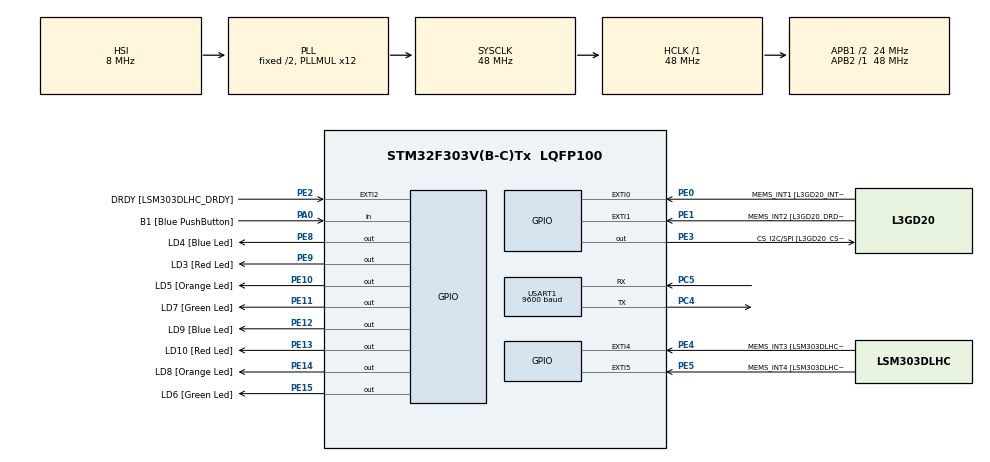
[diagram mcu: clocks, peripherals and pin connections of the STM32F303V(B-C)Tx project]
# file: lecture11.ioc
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FREERTOS.Queues01=sender,13,uint8_t,0,Dynamic,NULL,NULL
FREERTOS.Tasks01=defaultTask,24,128,StartDefaultTask,Default,NULL,Dynamic,NULL,NULL;TaskButton,24,128,getButton,Default,NULL,Dynamic,NULL,NULL;TaskTransmit,24,128,dataTransmit,Default,NULL,Dynamic,NULL,NULL;TaskQueueTransm,24,128,dataQueueTransm,Default,NULL,Dynamic,NULL,NULL
Mcu.Family=STM32F3
Mcu.Name=STM32F303V(B-C)Tx
Mcu.Package=LQFP100
NVIC.PriorityGroup=NVIC_PRIORITYGROUP_4
NVIC.TIM2_IRQn=true\:0\:0\:false\:false\:true\:false\:false\:true
NVIC.TimeBase=TIM2_IRQn
NVIC.TimeBaseIP=TIM2
PA0.GPIO_Label=B1 [Blue PushButton]
PA0.GPIO_Mode=GPIO_MODE_INPUT
PA0.GPIO_PuPd=GPIO_NOPULL
PA0.Signal=GPIO_Input
PA11.GPIO_Label=DM
PA11.Signal=USB_DM
PA12.GPIO_Label=DP
PA12.Signal=USB_DP
PA13.GPIO_Label=SWDIO
PA13.Signal=SYS_JTMS-SWDIO
PA14.GPIO_Label=SWCLK
PA14.Signal=SYS_JTCK-SWCLK
PA5.GPIO_Label=SPI1_SCK [L3GD20_SCL/SPC]
PA5.GPIO_Mode=GPIO_MODE_AF_PP
PA5.GPIO_PuPd=GPIO_NOPULL
PA5.GPIO_Speed=GPIO_SPEED_FREQ_LOW
PA5.Signal=SPI1_SCK
PA6.GPIO_Label=SPI1_MISO [L3GD20_SA0/SDO]
PA6.GPIO_Mode=GPIO_MODE_AF_PP
PA6.GPIO_PuPd=GPIO_NOPULL
PA6.GPIO_Speed=GPIO_SPEED_FREQ_LOW
PA6.Signal=SPI1_MISO
PA7.GPIO_Label=SPI1_MISO [L3GD20_SDA/SDI/SDO]
PA7.GPIO_Mode=GPIO_MODE_AF_PP
PA7.GPIO_PuPd=GPIO_NOPULL
PA7.GPIO_Speed=GPIO_SPEED_FREQ_LOW
PA7.Signal=SPI1_MOSI
PB3.GPIO_Label=SWO
PB3.Signal=SYS_JTDO-TRACESWO
PB6.GPIO_FM6=__NULL
PB6.GPIO_Label=I2C1_SCL [LSM303DLHC_SCL]
PB6.GPIO_Mode=GPIO_MODE_AF_OD
PB6.GPIO_PuPd=GPIO_NOPULL
PB6.GPIO_Speed=GPIO_SPEED_FREQ_LOW
PB6.Signal=I2C1_SCL
PB7.GPIO_FM7=__NULL
PB7.GPIO_Label=I2C1_SDA [LSM303DLHC_SDA]
PB7.GPIO_Mode=GPIO_MODE_AF_OD
PB7.GPIO_PuPd=GPIO_NOPULL
PB7.GPIO_Speed=GPIO_SPEED_FREQ_LOW
PB7.Signal=I2C1_SDA
PC14-OSC32_IN.GPIO_Label=OSC32_IN
PC14-OSC32_IN.Signal=RCC_OSC32_IN
PC15-OSC32_OUT.GPIO_Label=OSC32_OUT
PC15-OSC32_OUT.Signal=RCC_OSC32_OUT
PC4.Mode=Asynchronous
PC4.Signal=USART1_TX
PC5.Mode=Asynchronous
PC5.Signal=USART1_RX
PE0.GPIO_Label=MEMS_INT1 [L3GD20_INT1]
PE0.GPIO_ModeDefaultEXTI=GPIO_MODE_EVT_RISING
PE0.GPIO_PuPd=GPIO_NOPULL
PE0.Signal=GPXTI0
PE1.GPIO_Label=MEMS_INT2 [L3GD20_DRDY/INT2]
PE1.GPIO_ModeDefaultEXTI=GPIO_MODE_EVT_RISING
PE1.GPIO_PuPd=GPIO_NOPULL
PE1.Signal=GPXTI1
PE10.GPIO_Label=LD5 [Orange Led]
PE10.GPIO_ModeDefaultOutputPP=GPIO_MODE_OUTPUT_PP
PE10.GPIO_PuPd=GPIO_NOPULL
PE10.GPIO_Speed=GPIO_SPEED_FREQ_LOW
PE10.Signal=GPIO_Output
PE11.GPIO_Label=LD7 [Green Led]
PE11.GPIO_ModeDefaultOutputPP=GPIO_MODE_OUTPUT_PP
PE11.GPIO_PuPd=GPIO_NOPULL
PE11.GPIO_Speed=GPIO_SPEED_FREQ_LOW
PE11.Signal=GPIO_Output
PE12.GPIO_Label=LD9 [Blue Led]
PE12.GPIO_ModeDefaultOutputPP=GPIO_MODE_OUTPUT_PP
PE12.GPIO_PuPd=GPIO_NOPULL
PE12.GPIO_Speed=GPIO_SPEED_FREQ_LOW
PE12.Signal=GPIO_Output
PE13.GPIO_Label=LD10 [Red Led]
PE13.GPIO_ModeDefaultOutputPP=GPIO_MODE_OUTPUT_PP
PE13.GPIO_PuPd=GPIO_NOPULL
PE13.GPIO_Speed=GPIO_SPEED_FREQ_LOW
PE13.Signal=GPIO_Output
PE14.GPIO_Label=LD8 [Orange Led]
PE14.GPIO_ModeDefaultOutputPP=GPIO_MODE_OUTPUT_PP
PE14.GPIO_PuPd=GPIO_NOPULL
PE14.GPIO_Speed=GPIO_SPEED_FREQ_LOW
PE14.Signal=GPIO_Output
PE15.GPIO_Label=LD6 [Green Led]
PE15.GPIO_ModeDefaultOutputPP=GPIO_MODE_OUTPUT_PP
PE15.GPIO_PuPd=GPIO_NOPULL
PE15.GPIO_Speed=GPIO_SPEED_FREQ_LOW
PE15.Signal=GPIO_Output
PE2.GPIO_Label=DRDY [LSM303DLHC_DRDY]
PE2.GPIO_ModeDefaultEXTI=GPIO_MODE_EVT_RISING
PE2.GPIO_PuPd=GPIO_NOPULL
PE2.Signal=GPXTI2
PE3.GPIO_Label=CS_I2C/SPI [L3GD20_CS_I2C/SPI]
PE3.GPIO_ModeDefaultOutputPP=GPIO_MODE_OUTPUT_PP
PE3.GPIO_PuPd=GPIO_NOPULL
PE3.GPIO_Speed=GPIO_SPEED_FREQ_LOW
PE3.Signal=GPIO_Output
PE4.GPIO_Label=MEMS_INT3 [LSM303DLHC_INT1]
PE4.GPIO_ModeDefaultEXTI=GPIO_MODE_EVT_RISING
PE4.GPIO_PuPd=GPIO_NOPULL
PE4.Signal=GPXTI4
PE5.GPIO_Label=MEMS_INT4 [LSM303DLHC_INT2]
PE5.GPIO_ModeDefaultEXTI=GPIO_MODE_EVT_RISING
PE5.GPIO_PuPd=GPIO_NOPULL
PE5.Signal=GPXTI5
PE8.GPIO_Label=LD4 [Blue Led]
PE8.GPIO_ModeDefaultOutputPP=GPIO_MODE_OUTPUT_PP
PE8.GPIO_PuPd=GPIO_NOPULL
PE8.GPIO_Speed=GPIO_SPEED_FREQ_LOW
PE8.Signal=GPIO_Output
PE9.GPIO_Label=LD3 [Red Led]
PE9.GPIO_ModeDefaultOutputPP=GPIO_MODE_OUTPUT_PP
PE9.GPIO_PuPd=GPIO_NOPULL
PE9.GPIO_Speed=GPIO_SPEED_FREQ_LOW
PE9.Signal=GPIO_Output
PF0-OSC_IN.GPIO_Label=OSC_IN
PF0-OSC_IN.Mode=HSE-External-Oscillator
PF0-OSC_IN.Signal=RCC_OSC_IN
PF1-OSC_OUT.GPIO_Label=OSC_OUT
PF1-OSC_OUT.Mode=HSE-External-Oscillator
PF1-OSC_OUT.Signal=RCC_OSC_OUT
ProjectManager.HeapSize=0x200
ProjectManager.StackSize=0x400
ProjectManager.TargetToolchain=MDK-ARM V5.27
RCC.AHBFreq_Value=48000000
RCC.APB1CLKDivider=RCC_HCLK_DIV2
RCC.APB1Freq_Value=24000000
RCC.APB1TimFreq_Value=48000000
RCC.APB2Freq_Value=48000000
RCC.APB2TimFreq_Value=48000000
RCC.CortexFreq_Value=48000000
RCC.HCLKFreq_Value=48000000
RCC.HSE_VALUE=8000000
RCC.HSI_VALUE=8000000
RCC.LSE_VALUE=32768
RCC.PLLMUL=RCC_PLL_MUL12
RCC.SYSCLKFreq_VALUE=48000000
RCC.SYSCLKSourceVirtual=RCC_SYSCLKSOURCE_PLLCLK
RCC.USBFreq_Value=48000000
USART1.BaudRate=9600
USART1.VirtualMode-Asynchronous=VM_ASYNC
VP_FREERTOS_VS_CMSIS_V2.Mode=CMSIS_V2
VP_SYS_VS_tim2.Mode=TIM2
board=STM32F3DISCOVERY

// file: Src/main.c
/* USER CODE BEGIN Header */
/**
  ******************************************************************************
  * @file           : main.c
  * @brief          : Main program body
  ******************************************************************************
  * @attention
  *
  * <h2><center>&copy; Copyright (c) 2020 STMicroelectronics.
  * All rights reserved.</center></h2>
  *
  * This software component is licensed by ST under Ultimate Liberty license
  * SLA0044, the "License"; You may not use this file except in compliance with
  * the License. You may obtain a copy of the License at:
  *                             www.st.com/SLA0044
  *
  ******************************************************************************
  */
/* USER CODE END Header */

#include "main.h"
#include "cmsis_os.h"
#include <string.h>

UART_HandleTypeDef huart1;

osThreadId_t defaultTaskHandle;
osThreadId_t TaskButtonHandle;
osThreadId_t TaskTransmitHandle;
osThreadId_t TaskQueueTransmHandle;
osMessageQueueId_t senderHandle;

void SystemClock_Config(void);
static void MX_GPIO_Init(void);
static void MX_USART1_UART_Init(void);
void StartDefaultTask(void *argument);
void getButton(void *argument);
void dataTransmit(void *argument);
void dataQueueTransm(void *argument);

int main(void)
{

  /* MCU Configuration--------------------------------------------------------*/

  /* Reset of all peripherals, Initializes the Flash interface and the Systick. */
  HAL_Init();

  /* Configure the system clock */
  SystemClock_Config();

  /* Initialize all configured peripherals */
  MX_GPIO_Init();
  MX_USART1_UART_Init();

  osKernelInitialize();

  /* Create the queue(s) */
  /* definition and creation of sender */
  const osMessageQueueAttr_t sender_attributes = {
    .name = "sender"
  };
  senderHandle = osMessageQueueNew (13, sizeof(uint8_t), &sender_attributes);

  /* Create the thread(s) */
  /* definition and creation of defaultTask */
  const osThreadAttr_t defaultTask_attributes = {
    .name = "defaultTask",
    .priority = (osPriority_t) osPriorityNormal,
    .stack_size = 128
  };
  defaultTaskHandle = osThreadNew(StartDefaultTask, NULL, &defaultTask_attributes);

  /* definition and creation of TaskButton */
  const osThreadAttr_t TaskButton_attributes = {
    .name = "TaskButton",
    .priority = (osPriority_t) osPriorityNormal,
    .stack_size = 128
  };
  TaskButtonHandle = osThreadNew(getButton, NULL, &TaskButton_attributes);

  /* definition and creation of TaskTransmit */
  const osThreadAttr_t TaskTransmit_attributes = {
    .name = "TaskTransmit",
    .priority = (osPriority_t) osPriorityNormal,
    .stack_size = 128
  };
  TaskTransmitHandle = osThreadNew(dataTransmit, NULL, &TaskTransmit_attributes);

  /* definition and creation of TaskQueueTransm */
  const osThreadAttr_t TaskQueueTransm_attributes = {
    .name = "TaskQueueTransm",
    .priority = (osPriority_t) osPriorityNormal,
    .stack_size = 128
  };
  TaskQueueTransmHandle = osThreadNew(dataQueueTransm, NULL, &TaskQueueTransm_attributes);

  /* Start scheduler */
  osKernelStart();

  /* We should never get here as control is now taken by the scheduler */

  /* Infinite loop */
  while (1)
  {

  }
}

void SystemClock_Config(void)
{
  RCC_OscInitTypeDef RCC_OscInitStruct = {0};
  RCC_ClkInitTypeDef RCC_ClkInitStruct = {0};
  RCC_PeriphCLKInitTypeDef PeriphClkInit = {0};

  /** Initializes the CPU, AHB and APB busses clocks
  */
  RCC_OscInitStruct.OscillatorType = RCC_OSCILLATORTYPE_HSI;
  RCC_OscInitStruct.HSIState = RCC_HSI_ON;
  RCC_OscInitStruct.HSICalibrationValue = RCC_HSICALIBRATION_DEFAULT;
  RCC_OscInitStruct.PLL.PLLState = RCC_PLL_ON;
  RCC_OscInitStruct.PLL.PLLSource = RCC_PLLSOURCE_HSI;
  RCC_OscInitStruct.PLL.PLLMUL = RCC_PLL_MUL12;
  if (HAL_RCC_OscConfig(&RCC_OscInitStruct) != HAL_OK)
  {
    Error_Handler();
  }
  /** Initializes the CPU, AHB and APB busses clocks
  */
  RCC_ClkInitStruct.ClockType = RCC_CLOCKTYPE_HCLK|RCC_CLOCKTYPE_SYSCLK
                              |RCC_CLOCKTYPE_PCLK1|RCC_CLOCKTYPE_PCLK2;
  RCC_ClkInitStruct.SYSCLKSource = RCC_SYSCLKSOURCE_PLLCLK;
  RCC_ClkInitStruct.AHBCLKDivider = RCC_SYSCLK_DIV1;
  RCC_ClkInitStruct.APB1CLKDivider = RCC_HCLK_DIV2;
  RCC_ClkInitStruct.APB2CLKDivider = RCC_HCLK_DIV1;

  if (HAL_RCC_ClockConfig(&RCC_ClkInitStruct, FLASH_LATENCY_1) != HAL_OK)
  {
    Error_Handler();
  }
  PeriphClkInit.PeriphClockSelection = RCC_PERIPHCLK_USART1;
  PeriphClkInit.Usart1ClockSelection = RCC_USART1CLKSOURCE_PCLK2;
  if (HAL_RCCEx_PeriphCLKConfig(&PeriphClkInit) != HAL_OK)
  {
    Error_Handler();
  }
}

static void MX_USART1_UART_Init(void)
{

  huart1.Instance = USART1;
  huart1.Init.BaudRate = 9600;
  huart1.Init.WordLength = UART_WORDLENGTH_8B;
  huart1.Init.StopBits = UART_STOPBITS_1;
  huart1.Init.Parity = UART_PARITY_NONE;
  huart1.Init.Mode = UART_MODE_TX_RX;
  huart1.Init.HwFlowCtl = UART_HWCONTROL_NONE;
  huart1.Init.OverSampling = UART_OVERSAMPLING_16;
  huart1.Init.OneBitSampling = UART_ONE_BIT_SAMPLE_DISABLE;
  huart1.AdvancedInit.AdvFeatureInit = UART_ADVFEATURE_NO_INIT;
  if (HAL_UART_Init(&huart1) != HAL_OK)
  {
    Error_Handler();
  }

}

static void MX_GPIO_Init(void)
{
  GPIO_InitTypeDef GPIO_InitStruct = {0};

  /* GPIO Ports Clock Enable */
  __HAL_RCC_GPIOE_CLK_ENABLE();
  __HAL_RCC_GPIOC_CLK_ENABLE();
  __HAL_RCC_GPIOF_CLK_ENABLE();
  __HAL_RCC_GPIOA_CLK_ENABLE();
  __HAL_RCC_GPIOB_CLK_ENABLE();

  /*Configure GPIO pin Output Level */
  HAL_GPIO_WritePin(GPIOE, CS_I2C_SPI_Pin|LD4_Pin|LD3_Pin|LD5_Pin
                          |LD7_Pin|LD9_Pin|LD10_Pin|LD8_Pin
                          |LD6_Pin, GPIO_PIN_RESET);

  /*Configure GPIO pins : DRDY_Pin MEMS_INT3_Pin MEMS_INT4_Pin MEMS_INT1_Pin
                           MEMS_INT2_Pin */
  GPIO_InitStruct.Pin = DRDY_Pin|MEMS_INT3_Pin|MEMS_INT4_Pin|MEMS_INT1_Pin
                          |MEMS_INT2_Pin;
  GPIO_InitStruct.Mode = GPIO_MODE_EVT_RISING;
  GPIO_InitStruct.Pull = GPIO_NOPULL;
  HAL_GPIO_Init(GPIOE, &GPIO_InitStruct);

  /*Configure GPIO pins : CS_I2C_SPI_Pin LD4_Pin LD3_Pin LD5_Pin
                           LD7_Pin LD9_Pin LD10_Pin LD8_Pin
                           LD6_Pin */
  GPIO_InitStruct.Pin = CS_I2C_SPI_Pin|LD4_Pin|LD3_Pin|LD5_Pin
                          |LD7_Pin|LD9_Pin|LD10_Pin|LD8_Pin
                          |LD6_Pin;
  GPIO_InitStruct.Mode = GPIO_MODE_OUTPUT_PP;
  GPIO_InitStruct.Pull = GPIO_NOPULL;
  GPIO_InitStruct.Speed = GPIO_SPEED_FREQ_LOW;
  HAL_GPIO_Init(GPIOE, &GPIO_InitStruct);

  /*Configure GPIO pin : B1_Pin */
  GPIO_InitStruct.Pin = B1_Pin;
  GPIO_InitStruct.Mode = GPIO_MODE_INPUT;
  GPIO_InitStruct.Pull = GPIO_NOPULL;
  HAL_GPIO_Init(B1_GPIO_Port, &GPIO_InitStruct);

  /*Configure GPIO pins : SPI1_SCK_Pin SPI1_MISO_Pin SPI1_MISOA7_Pin */
  GPIO_InitStruct.Pin = SPI1_SCK_Pin|SPI1_MISO_Pin|SPI1_MISOA7_Pin;
  GPIO_InitStruct.Mode = GPIO_MODE_AF_PP;
  GPIO_InitStruct.Pull = GPIO_NOPULL;
  GPIO_InitStruct.Speed = GPIO_SPEED_FREQ_LOW;
  GPIO_InitStruct.Alternate = GPIO_AF5_SPI1;
  HAL_GPIO_Init(GPIOA, &GPIO_InitStruct);

  /*Configure GPIO pins : DM_Pin DP_Pin */
  GPIO_InitStruct.Pin = DM_Pin|DP_Pin;
  GPIO_InitStruct.Mode = GPIO_MODE_AF_PP;
  GPIO_InitStruct.Pull = GPIO_NOPULL;
  GPIO_InitStruct.Speed = GPIO_SPEED_FREQ_HIGH;
  GPIO_InitStruct.Alternate = GPIO_AF14_USB;
  HAL_GPIO_Init(GPIOA, &GPIO_InitStruct);

  /*Configure GPIO pins : I2C1_SCL_Pin I2C1_SDA_Pin */
  GPIO_InitStruct.Pin = I2C1_SCL_Pin|I2C1_SDA_Pin;
  GPIO_InitStruct.Mode = GPIO_MODE_AF_OD;
  GPIO_InitStruct.Pull = GPIO_PULLUP;
  GPIO_InitStruct.Speed = GPIO_SPEED_FREQ_LOW;
  GPIO_InitStruct.Alternate = GPIO_AF4_I2C1;
  HAL_GPIO_Init(GPIOB, &GPIO_InitStruct);

}

void StartDefaultTask(void *argument)
{
  /* USER CODE BEGIN 5 */
  /* Infinite loop */
  for(;;)
  {
    osDelay(1000);
		/*! led status */
    HAL_GPIO_TogglePin(GPIOE, GPIO_PIN_13);
  }
  /* USER CODE END 5 */
}

void getButton(void *argument)
{
  /* USER CODE BEGIN getButton */
	uint8_t text[13] = "Queue message";
  /* Infinite loop */
  for(;;)
  {
     if (HAL_GPIO_ReadPin(B1_GPIO_Port, B1_Pin) == GPIO_PIN_SET) {

			for (int i = 0; i < 13; i++) {

				osMessageQueuePut(senderHandle, &text[i], 0, osWaitForever);

			}
     }

    osDelay(1000);
  }
  /* USER CODE END getButton */
}

void dataTransmit(void *argument)
{
  for(;;)
  {
    osDelay(1);
  }
}

void dataQueueTransm(void *argument)
{
  /* USER CODE BEGIN dataQueueTransm */
	uint8_t text[13];
  /* Infinite loop */
  for(;;)
  {
		memset(text, 120, 13);

		for (int i = 0; i < 13; i++){

			osMessageQueueGet(senderHandle, &text[i], NULL, osWaitForever);

		}

		HAL_UART_Transmit(&huart1, text, sizeof(text) - 1, 0xFFFF);
		HAL_UART_Transmit(&huart1, (uint8_t*)"\r\n", 2, 0xFFFF);
		HAL_GPIO_TogglePin (GPIOE, GPIO_PIN_9);

		osDelay(1000);
  }
  /* USER CODE END dataQueueTransm */
}

void HAL_TIM_PeriodElapsedCallback(TIM_HandleTypeDef *htim)
{
  if (htim->Instance == TIM2) {
    HAL_IncTick();
  }
}

void Error_Handler(void)
{
}

/************************ (C) COPYRIGHT STMicroelectronics *****END OF FILE****/
